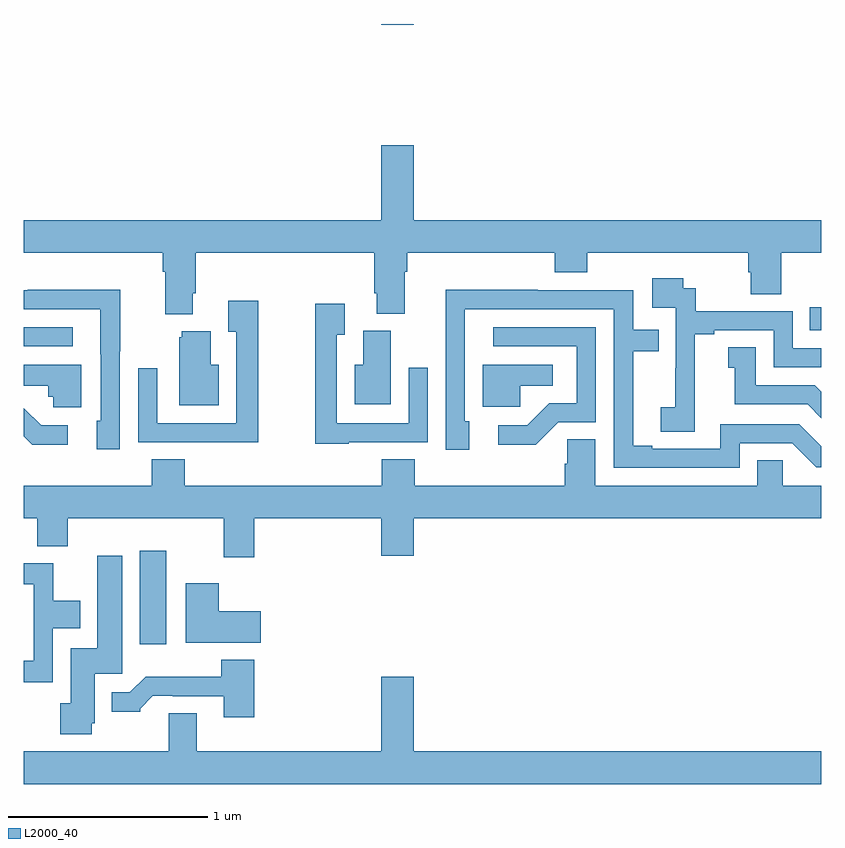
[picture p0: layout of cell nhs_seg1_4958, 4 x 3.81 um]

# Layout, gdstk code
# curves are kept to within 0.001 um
import gdstk
lib = gdstk.Library(unit=1e-6, precision=1e-09)
def R(c, l, rs):  # rectangles x0, y0, x1, y1
    for r in rs: c.add(gdstk.rectangle(r[:2], r[2:], *l))
def P(c, l, *ps):  # polygons
    for p in ps: c.add(gdstk.Polygon(p, *l))
L2000_40 = (2000, 40)

nhs_seg1_4958 = lib.new_cell('nhs_seg1_4958')
R(nhs_seg1_4958, L2000_40, [(379.583,563.088,379.714,563.557), (379,564.582,379.246,564.678), (382.942,564.663,383,564.778), (380.792,566.196,380.956,566.199)])
P(nhs_seg1_4958, L2000_40, [(379.849,564.85),(379.862,564.85),(379.862,565.052),(380.759,565.052),(380.759,564.85),(380.771,564.85),(380.771,564.745),(380.911,564.745),(380.911,564.956),(380.924,564.956),(380.924,565.052),(381.662,565.052),(381.662,564.953),(381.827,564.953),(381.827,565.052),(382.634,565.052),(382.634,564.954),(382.646,564.954),(382.646,564.844),(382.799,564.844),(382.799,565.052),(383,565.052),(383,565.216),(380.956,565.216),(380.956,565.591),(380.792,565.591),(380.792,565.216),(379,565.216),(379,565.052),(379.697,565.052),(379.697,564.956),(379.709,564.956),(379.709,564.743),(379.849,564.743)],
  [(382.364,564.265),(382.366,564.265),(382.366,564.643),(382.462,564.643),(382.462,564.663),(382.761,564.663),(382.761,564.477),(383,564.477),(383,564.573),(382.857,564.573),(382.857,564.759),(382.37,564.759),(382.37,564.873),(382.308,564.873),(382.308,564.925),(382.152,564.925),(382.152,564.777),(382.269,564.777),(382.269,564.473),(382.268,564.473),(382.268,564.276),(382.194,564.276),(382.194,564.154),(382.364,564.154)],
  [(379.482,564.559),(379.485,564.559),(379.485,564.866),(379.021,564.866),(379.021,564.864),(379,564.864),(379,564.768),(379.385,564.768),(379.385,564.544),(379.386,564.544),(379.386,564.21),(379.367,564.21),(379.367,564.066),(379.482,564.066)],
  [(382.59,564.096),(382.854,564.096),(382.974,563.976),(383,563.976),(383,564.082),(382.89,564.192),(382.494,564.192),(382.494,564.069),(382.153,564.069),(382.153,564.084),(382.057,564.084),(382.057,564.558),(382.184,564.558),(382.184,564.666),(382.056,564.666),(382.056,564.864),(381.578,564.864),(381.578,564.866),(381.116,564.866),(381.117,564.063),(381.235,564.063),(381.235,564.207),(381.213,564.207),(381.213,564.768),(381.96,564.768),(381.96,563.973),(382.59,563.973)],
  [(380.176,564.811),(380.027,564.811),(380.027,564.655),(380.067,564.655),(380.067,564.198),(379.671,564.198),(379.671,564.472),(379.575,564.472),(379.575,564.102),(379.891,564.102),(379.891,564.101),(380.176,564.101)],
  [(380.631,564.102),(381.027,564.102),(381.027,564.475),(380.931,564.475),(380.931,564.198),(380.571,564.198),(380.571,564.64),(380.611,564.64),(380.611,564.796),(380.463,564.796),(380.463,564.095),(380.631,564.095)],
  [(381.681,564.201),(381.87,564.201),(381.87,564.678),(381.354,564.678),(381.354,564.582),(381.774,564.582),(381.774,564.297),(381.636,564.297),(381.525,564.186),(381.381,564.186),(381.381,564.089),(381.568,564.089)],
  [(380.842,564.66),(380.702,564.66),(380.702,564.49),(380.66,564.49),(380.66,564.293),(380.842,564.293)],
  [(379.978,564.49),(379.939,564.49),(379.939,564.658),(379.793,564.658),(379.793,564.627),(379.781,564.627),(379.781,564.287),(379.978,564.287)],
  [(383,564.355),(382.968,564.387),(382.672,564.387),(382.672,564.578),(382.532,564.578),(382.532,564.475),(382.565,564.475),(382.565,564.291),(382.932,564.291),(383,564.223)],
  [(379.288,564.49),(379,564.49),(379,564.386),(379.123,564.386),(379.123,564.33),(379.149,564.33),(379.149,564.278),(379.288,564.278)],
  [(381.489,564.386),(381.652,564.386),(381.652,564.49),(381.302,564.49),(381.302,564.279),(381.489,564.279)],
  [(379.222,564.186),(379.087,564.186),(379,564.273),(379,564.132),(379.043,564.089),(379.222,564.089)],
  [(380.156,563.72),(380.792,563.72),(380.792,563.532),(380.956,563.532),(380.956,563.72),(383,563.72),(383,563.884),(382.806,563.884),(382.806,564.011),(382.679,564.011),(382.679,563.884),(381.865,563.884),(381.865,564.116),(381.726,564.116),(381.726,563.993),(381.713,563.993),(381.713,563.884),(380.96,563.884),(380.96,564.017),(380.795,564.017),(380.795,563.884),(379.808,563.884),(379.808,564.017),(379.643,564.017),(379.643,563.884),(379,563.884),(379,563.72),(379.067,563.72),(379.067,563.579),(379.22,563.579),(379.22,563.72),(380.003,563.72),(380.003,563.526),(380.156,563.526)],
  [(379.341,562.692),(379.357,562.692),(379.357,562.941),(379.495,562.941),(379.495,563.533),(379.37,563.533),(379.37,563.068),(379.235,563.068),(379.235,562.794),(379.184,562.794),(379.184,562.638),(379.341,562.638)],
  [(379.146,563.168),(379.285,563.168),(379.285,563.308),(379.149,563.308),(379.149,563.494),(379,563.494),(379,563.39),(379.05,563.39),(379.05,563.007),(379,563.007),(379,562.899),(379.146,562.899)],
  [(380.188,563.254),(379.978,563.254),(379.978,563.395),(379.814,563.395),(379.814,563.096),(380.188,563.096)],
  [(380.156,563.011),(379.991,563.011),(379.991,562.927),(379.612,562.927),(379.533,562.848),(379.442,562.848),(379.442,562.751),(379.584,562.751),(379.584,562.766),(379.648,562.83),(379.747,562.83),(379.747,562.827),(380.003,562.827),(380.003,562.722),(380.156,562.722)],
  [(383,562.552),(380.956,562.552),(380.956,562.927),(380.792,562.927),(380.792,562.552),(379.867,562.552),(379.867,562.742),(379.727,562.742),(379.727,562.552),(379,562.552),(379,562.388),(383,562.388)])

lib.write_gds('nhs_seg1_4958.gds')
